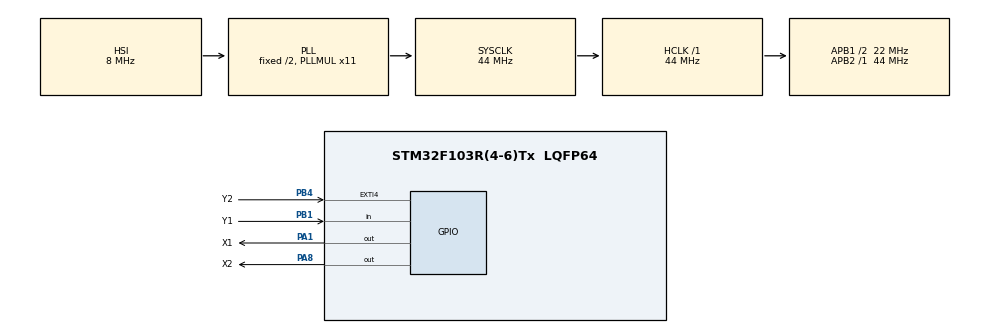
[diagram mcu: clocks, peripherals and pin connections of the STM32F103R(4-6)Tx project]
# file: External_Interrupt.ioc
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Mcu.Family=STM32F1
Mcu.Name=STM32F103R(4-6)Tx
Mcu.Package=LQFP64
NVIC.EXTI4_IRQn=true\:0\:0\:false\:false\:true\:true\:true\:true
NVIC.PriorityGroup=NVIC_PRIORITYGROUP_4
PA1.GPIO_Label=X1
PA1.Signal=GPIO_Output
PA8.GPIO_Label=X2
PA8.Signal=GPIO_Output
PB1.GPIO_Label=Y1
PB1.Signal=GPIO_Input
PB4.GPIO_Label=Y2
PB4.GPIO_ModeDefaultEXTI=GPIO_MODE_IT_RISING
PB4.Signal=GPXTI4
ProjectManager.HeapSize=0x200
ProjectManager.StackSize=0x400
ProjectManager.TargetToolchain=STM32CubeIDE
RCC.AHBFreq_Value=44000000
RCC.APB1CLKDivider=RCC_HCLK_DIV2
RCC.APB1Freq_Value=22000000
RCC.APB1TimFreq_Value=44000000
RCC.APB2Freq_Value=44000000
RCC.APB2TimFreq_Value=44000000
RCC.HCLKFreq_Value=44000000
RCC.PLLMUL=RCC_PLL_MUL11
RCC.SYSCLKFreq_VALUE=44000000
RCC.SYSCLKSource=RCC_SYSCLKSOURCE_PLLCLK
RCC.USBFreq_Value=44000000
board=custom

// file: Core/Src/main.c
/* USER CODE BEGIN Header */
/**
  ******************************************************************************
  * @file           : main.c
  * @brief          : Main program body
  ******************************************************************************
  * @attention
  *
  * Copyright (c) 2023 STMicroelectronics.
  * All rights reserved.
  *
  * This software is licensed under terms that can be found in the LICENSE file
  * in the root directory of this software component.
  * If no LICENSE file comes with this software, it is provided AS-IS.
  *
  ******************************************************************************
  */
/* USER CODE END Header */
#include "main.h"

/* USER CODE BEGIN PV */
uint16_t condition = 0;
/* USER CODE END PV */

void SystemClock_Config(void);
static void MX_GPIO_Init(void);

int main(void)
{

  /* MCU Configuration--------------------------------------------------------*/

  /* Reset of all peripherals, Initializes the Flash interface and the Systick. */
  HAL_Init();

  /* Configure the system clock */
  SystemClock_Config();

  /* Initialize all configured peripherals */
  MX_GPIO_Init();

  /* Infinite loop */
  /* USER CODE BEGIN WHILE */
  while (1)
  {
	  if (condition == 0){
	  	  HAL_GPIO_WritePin(X1_GPIO_Port,X1_Pin,GPIO_PIN_SET);
	  	  HAL_GPIO_WritePin(X2_GPIO_Port,X2_Pin,GPIO_PIN_SET);
	  }
	  if (condition == 1){
		  HAL_GPIO_WritePin(X1_GPIO_Port,X1_Pin,GPIO_PIN_RESET);
		  HAL_GPIO_TogglePin(X2_GPIO_Port, X2_Pin);
		  		  HAL_Delay(100);
	  }
	  if(HAL_GPIO_ReadPin(Y1_GPIO_Port,Y1_Pin)==1){
	  	  HAL_GPIO_WritePin(X1_GPIO_Port,X1_Pin,GPIO_PIN_SET);
	  	  HAL_GPIO_WritePin(X2_GPIO_Port,X2_Pin,GPIO_PIN_SET);
		  condition = 0;
	  }
    /* USER CODE END WHILE */

  }
}

void SystemClock_Config(void)
{
  RCC_OscInitTypeDef RCC_OscInitStruct = {0};
  RCC_ClkInitTypeDef RCC_ClkInitStruct = {0};

  /** Initializes the RCC Oscillators according to the specified parameters
  * in the RCC_OscInitTypeDef structure.
  */
  RCC_OscInitStruct.OscillatorType = RCC_OSCILLATORTYPE_HSI;
  RCC_OscInitStruct.HSIState = RCC_HSI_ON;
  RCC_OscInitStruct.HSICalibrationValue = RCC_HSICALIBRATION_DEFAULT;
  RCC_OscInitStruct.PLL.PLLState = RCC_PLL_ON;
  RCC_OscInitStruct.PLL.PLLSource = RCC_PLLSOURCE_HSI_DIV2;
  RCC_OscInitStruct.PLL.PLLMUL = RCC_PLL_MUL11;
  if (HAL_RCC_OscConfig(&RCC_OscInitStruct) != HAL_OK)
  {
    Error_Handler();
  }

  /** Initializes the CPU, AHB and APB buses clocks
  */
  RCC_ClkInitStruct.ClockType = RCC_CLOCKTYPE_HCLK|RCC_CLOCKTYPE_SYSCLK
                              |RCC_CLOCKTYPE_PCLK1|RCC_CLOCKTYPE_PCLK2;
  RCC_ClkInitStruct.SYSCLKSource = RCC_SYSCLKSOURCE_PLLCLK;
  RCC_ClkInitStruct.AHBCLKDivider = RCC_SYSCLK_DIV1;
  RCC_ClkInitStruct.APB1CLKDivider = RCC_HCLK_DIV2;
  RCC_ClkInitStruct.APB2CLKDivider = RCC_HCLK_DIV1;

  if (HAL_RCC_ClockConfig(&RCC_ClkInitStruct, FLASH_LATENCY_1) != HAL_OK)
  {
    Error_Handler();
  }
}

static void MX_GPIO_Init(void)
{
  GPIO_InitTypeDef GPIO_InitStruct = {0};

  /* GPIO Ports Clock Enable */
  __HAL_RCC_GPIOA_CLK_ENABLE();
  __HAL_RCC_GPIOB_CLK_ENABLE();

  /*Configure GPIO pin Output Level */
  HAL_GPIO_WritePin(GPIOA, X1_Pin|X2_Pin, GPIO_PIN_RESET);

  /*Configure GPIO pins : X1_Pin X2_Pin */
  GPIO_InitStruct.Pin = X1_Pin|X2_Pin;
  GPIO_InitStruct.Mode = GPIO_MODE_OUTPUT_PP;
  GPIO_InitStruct.Pull = GPIO_NOPULL;
  GPIO_InitStruct.Speed = GPIO_SPEED_FREQ_LOW;
  HAL_GPIO_Init(GPIOA, &GPIO_InitStruct);

  /*Configure GPIO pin : Y1_Pin */
  GPIO_InitStruct.Pin = Y1_Pin;
  GPIO_InitStruct.Mode = GPIO_MODE_INPUT;
  GPIO_InitStruct.Pull = GPIO_NOPULL;
  HAL_GPIO_Init(Y1_GPIO_Port, &GPIO_InitStruct);

  /*Configure GPIO pin : Y2_Pin */
  GPIO_InitStruct.Pin = Y2_Pin;
  GPIO_InitStruct.Mode = GPIO_MODE_IT_RISING;
  GPIO_InitStruct.Pull = GPIO_NOPULL;
  HAL_GPIO_Init(Y2_GPIO_Port, &GPIO_InitStruct);

  /* EXTI interrupt init*/
  HAL_NVIC_SetPriority(EXTI4_IRQn, 0, 0);
  HAL_NVIC_EnableIRQ(EXTI4_IRQn);

}

/* USER CODE BEGIN 4 */
void HAL_GPIO_EXTI_Callback ( uint16_t GPIO_Pin)
	{
	if(GPIO_Pin == Y2_Pin)
		condition = 1;
	else if(GPIO_Pin == Y1_Pin)
		condition = 0;
	}
/* USER CODE END 4 */

void Error_Handler(void)
{
  __disable_irq();
  while (1)
  {
  }
}
